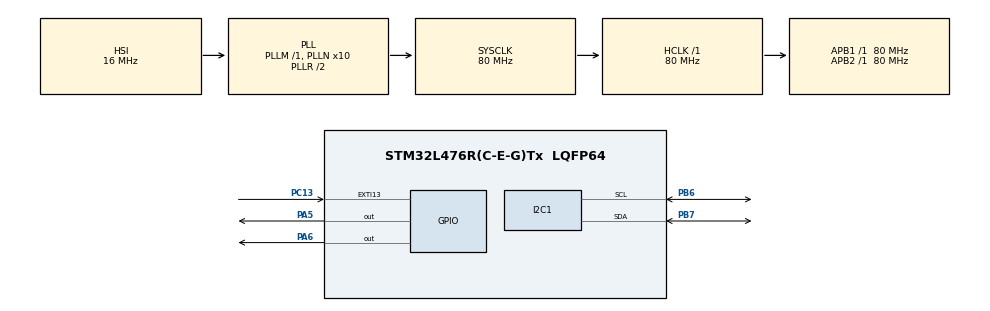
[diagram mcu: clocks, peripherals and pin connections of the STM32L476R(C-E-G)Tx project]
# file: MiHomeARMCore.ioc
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Mcu.Family=STM32L4
Mcu.Name=STM32L476R(C-E-G)Tx
Mcu.Package=LQFP64
NVIC.PriorityGroup=NVIC_PRIORITYGROUP_4
PA13\ (JTMS-SWDIO).GPIO_Label=TMS
PA13\ (JTMS-SWDIO).Signal=SYS_JTMS-SWDIO
PA14\ (JTCK-SWCLK).GPIO_Label=TCK
PA14\ (JTCK-SWCLK).Signal=SYS_JTCK-SWCLK
PA2.GPIO_Label=USART_TX
PA2.GPIO_Mode=GPIO_MODE_AF_PP
PA2.GPIO_PuPd=GPIO_NOPULL
PA2.GPIO_Speed=GPIO_SPEED_FREQ_VERY_HIGH
PA2.Signal=USART2_TX
PA3.GPIO_Label=USART_RX
PA3.GPIO_Mode=GPIO_MODE_AF_PP
PA3.GPIO_PuPd=GPIO_NOPULL
PA3.GPIO_Speed=GPIO_SPEED_FREQ_VERY_HIGH
PA3.Signal=USART2_RX
PA5.Signal=GPIO_Output
PA6.Signal=GPIO_Output
PB3\ (JTDO-TRACESWO).GPIO_Label=SWO
PB3\ (JTDO-TRACESWO).Signal=SYS_JTDO-SWO
PB6.Mode=I2C
PB6.Signal=I2C1_SCL
PB7.Mode=I2C
PB7.Signal=I2C1_SDA
PC13.GPIO_ModeDefaultEXTI=GPIO_MODE_IT_FALLING
PC13.GPIO_PuPd=GPIO_NOPULL
PC13.Signal=GPXTI13
PC14-OSC32_IN\ (PC14).Signal=RCC_OSC32_IN
PC15-OSC32_OUT\ (PC15).Signal=RCC_OSC32_OUT
PH0-OSC_IN\ (PH0).Signal=RCC_OSC_IN
PH1-OSC_OUT\ (PH1).Signal=RCC_OSC_OUT
ProjectManager.HeapSize=0x200
ProjectManager.StackSize=0x400
ProjectManager.TargetToolchain=MDK-ARM V5
RCC.ADCFreq_Value=96000000
RCC.AHBFreq_Value=80000000
RCC.APB1Freq_Value=80000000
RCC.APB1TimFreq_Value=80000000
RCC.APB2Freq_Value=80000000
RCC.APB2TimFreq_Value=80000000
RCC.CortexFreq_Value=80000000
RCC.HCLKFreq_Value=80000000
RCC.HSE_VALUE=8000000
RCC.HSI_VALUE=16000000
RCC.LSE_VALUE=32768
RCC.MSI_VALUE=4000000
RCC.PLLN=10
RCC.PLLSAI1N=12
RCC.PLLSAI1Q=RCC_PLLQ_DIV4
RCC.PLLSourceVirtual=RCC_PLLSOURCE_HSI
RCC.PREFETCH_ENABLE=1
RCC.SYSCLKFreq_VALUE=80000000
RCC.SYSCLKSource=RCC_SYSCLKSOURCE_PLLCLK
RCC.USBFreq_Value=48000000
RCC.VCOOutputFreq_Value=160000000
VP_RNG_VS_RNG.Mode=RNG_Activate
board=NUCLEO-L476RG

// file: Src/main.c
/**
  ******************************************************************************
  * @file           : main.c
  * @brief          : Main program body
  ******************************************************************************
  ** This notice applies to any and all portions of this file
  * that are not between comment pairs USER CODE BEGIN and
  * USER CODE END. Other portions of this file, whether
  * inserted by the user or by software development tools
  * are owned by their respective copyright owners.
  *
  * COPYRIGHT(c) 2018 STMicroelectronics
  *
  * Redistribution and use in source and binary forms, with or without modification,
  * are permitted provided that the following conditions are met:
  *   1. Redistributions of source code must retain the above copyright notice,
  *      this list of conditions and the following disclaimer.
  *   2. Redistributions in binary form must reproduce the above copyright notice,
  *      this list of conditions and the following disclaimer in the documentation
  *      and/or other materials provided with the distribution.
  *   3. Neither the name of STMicroelectronics nor the names of its contributors
  *      may be used to endorse or promote products derived from this software
  *      without specific prior written permission.
  *
  * THIS SOFTWARE IS PROVIDED BY THE COPYRIGHT HOLDERS AND CONTRIBUTORS "AS IS"
  * AND ANY EXPRESS OR IMPLIED WARRANTIES, INCLUDING, BUT NOT LIMITED TO, THE
  * IMPLIED WARRANTIES OF MERCHANTABILITY AND FITNESS FOR A PARTICULAR PURPOSE ARE
  * DISCLAIMED. IN NO EVENT SHALL THE COPYRIGHT HOLDER OR CONTRIBUTORS BE LIABLE
  * FOR ANY DIRECT, INDIRECT, INCIDENTAL, SPECIAL, EXEMPLARY, OR CONSEQUENTIAL
  * DAMAGES (INCLUDING, BUT NOT LIMITED TO, PROCUREMENT OF SUBSTITUTE GOODS OR
  * SERVICES; LOSS OF USE, DATA, OR PROFITS; OR BUSINESS INTERRUPTION) HOWEVER
  * CAUSED AND ON ANY THEORY OF LIABILITY, WHETHER IN CONTRACT, STRICT LIABILITY,
  * OR TORT (INCLUDING NEGLIGENCE OR OTHERWISE) ARISING IN ANY WAY OUT OF THE USE
  * OF THIS SOFTWARE, EVEN IF ADVISED OF THE POSSIBILITY OF SUCH DAMAGE.
  *
  ******************************************************************************
  */
#include "main.h"
#include "stm32l4xx_hal.h"

I2C_HandleTypeDef hi2c1;

RNG_HandleTypeDef hrng;

/* USER CODE BEGIN PV */
/* Private variables ---------------------------------------------------------*/

/* USER CODE END PV */

void SystemClock_Config(void);
static void MX_GPIO_Init(void);
static void MX_RNG_Init(void);
static void MX_I2C1_Init(void);

/* USER CODE BEGIN PFP */
/* Private function prototypes -----------------------------------------------*/

/* USER CODE END PFP */

/* USER CODE BEGIN 0 */
uint32_t random(int min,int max){
    while((RNG->SR & RNG_SR_DRDY) == 0);
    return RNG->DR % max + min;
}
/* USER CODE END 0 */

int main(void)
{

  /* MCU Configuration----------------------------------------------------------*/

  /* Reset of all peripherals, Initializes the Flash interface and the Systick. */
  HAL_Init();

  /* Configure the system clock */
  SystemClock_Config();

  /* Initialize all configured peripherals */
  MX_GPIO_Init();
  MX_RNG_Init();
  MX_I2C1_Init();
  /* USER CODE BEGIN 2 */
	printf("Starting Scan...");
 	printf("\r\n");
 	printf("Scanning I2C bus:\r\n[");

	HAL_StatusTypeDef result;
 	uint8_t i;
 	for (i =1; i<128; i++)
 	{
 	  result = HAL_I2C_IsDeviceReady(&hi2c1, (uint16_t)(i<<1), 2, 2);
 	  if (result != HAL_OK) // HAL_ERROR or HAL_BUSY or HAL_TIMEOUT
 	  {
 		  printf("."); // No ACK received at that address
 	  }
 	  if (result == HAL_OK)
 	  {
 		  printf("0x%X", i); // Received an ACK at that address
 	  }
 	}
  printf("]\r\n");
  /* USER CODE END 2 */

  /* Infinite loop */
  while (1)
  {
		int stateOfPushButton = HAL_GPIO_ReadPin(GPIOC, GPIO_PIN_13);
    if ( stateOfPushButton == 1 ) {
			HAL_GPIO_WritePin(GPIOA, GPIO_PIN_6, GPIO_PIN_RESET);
      HAL_GPIO_WritePin(GPIOA, GPIO_PIN_5, GPIO_PIN_RESET);
    } else {
			HAL_GPIO_WritePin(GPIOA, GPIO_PIN_6, GPIO_PIN_SET);
      HAL_GPIO_WritePin(GPIOA, GPIO_PIN_5, GPIO_PIN_SET);
    }

		printf("Random: %d\n\r",random(0,100));
		HAL_Delay(200);
  }

}

void SystemClock_Config(void)
{

  RCC_OscInitTypeDef RCC_OscInitStruct;
  RCC_ClkInitTypeDef RCC_ClkInitStruct;
  RCC_PeriphCLKInitTypeDef PeriphClkInit;

    /**Initializes the CPU, AHB and APB busses clocks
    */
  RCC_OscInitStruct.OscillatorType = RCC_OSCILLATORTYPE_HSI;
  RCC_OscInitStruct.HSIState = RCC_HSI_ON;
  RCC_OscInitStruct.HSICalibrationValue = 16;
  RCC_OscInitStruct.PLL.PLLState = RCC_PLL_ON;
  RCC_OscInitStruct.PLL.PLLSource = RCC_PLLSOURCE_HSI;
  RCC_OscInitStruct.PLL.PLLM = 1;
  RCC_OscInitStruct.PLL.PLLN = 10;
  RCC_OscInitStruct.PLL.PLLP = RCC_PLLP_DIV7;
  RCC_OscInitStruct.PLL.PLLQ = RCC_PLLQ_DIV2;
  RCC_OscInitStruct.PLL.PLLR = RCC_PLLR_DIV2;
  if (HAL_RCC_OscConfig(&RCC_OscInitStruct) != HAL_OK)
  {
    _Error_Handler(__FILE__, __LINE__);
  }

    /**Initializes the CPU, AHB and APB busses clocks
    */
  RCC_ClkInitStruct.ClockType = RCC_CLOCKTYPE_HCLK|RCC_CLOCKTYPE_SYSCLK
                              |RCC_CLOCKTYPE_PCLK1|RCC_CLOCKTYPE_PCLK2;
  RCC_ClkInitStruct.SYSCLKSource = RCC_SYSCLKSOURCE_PLLCLK;
  RCC_ClkInitStruct.AHBCLKDivider = RCC_SYSCLK_DIV1;
  RCC_ClkInitStruct.APB1CLKDivider = RCC_HCLK_DIV1;
  RCC_ClkInitStruct.APB2CLKDivider = RCC_HCLK_DIV1;

  if (HAL_RCC_ClockConfig(&RCC_ClkInitStruct, FLASH_LATENCY_4) != HAL_OK)
  {
    _Error_Handler(__FILE__, __LINE__);
  }

  PeriphClkInit.PeriphClockSelection = RCC_PERIPHCLK_I2C1|RCC_PERIPHCLK_RNG;
  PeriphClkInit.I2c1ClockSelection = RCC_I2C1CLKSOURCE_PCLK1;
  PeriphClkInit.RngClockSelection = RCC_RNGCLKSOURCE_PLLSAI1;
  PeriphClkInit.PLLSAI1.PLLSAI1Source = RCC_PLLSOURCE_HSI;
  PeriphClkInit.PLLSAI1.PLLSAI1M = 1;
  PeriphClkInit.PLLSAI1.PLLSAI1N = 12;
  PeriphClkInit.PLLSAI1.PLLSAI1P = RCC_PLLP_DIV7;
  PeriphClkInit.PLLSAI1.PLLSAI1Q = RCC_PLLQ_DIV4;
  PeriphClkInit.PLLSAI1.PLLSAI1R = RCC_PLLR_DIV2;
  PeriphClkInit.PLLSAI1.PLLSAI1ClockOut = RCC_PLLSAI1_48M2CLK;
  if (HAL_RCCEx_PeriphCLKConfig(&PeriphClkInit) != HAL_OK)
  {
    _Error_Handler(__FILE__, __LINE__);
  }

    /**Configure the main internal regulator output voltage
    */
  if (HAL_PWREx_ControlVoltageScaling(PWR_REGULATOR_VOLTAGE_SCALE1) != HAL_OK)
  {
    _Error_Handler(__FILE__, __LINE__);
  }

    /**Configure the Systick interrupt time
    */
  HAL_SYSTICK_Config(HAL_RCC_GetHCLKFreq()/1000);

    /**Configure the Systick
    */
  HAL_SYSTICK_CLKSourceConfig(SYSTICK_CLKSOURCE_HCLK);

  /* SysTick_IRQn interrupt configuration */
  HAL_NVIC_SetPriority(SysTick_IRQn, 0, 0);
}

/* I2C1 init function */
static void MX_I2C1_Init(void)
{

  hi2c1.Instance = I2C1;
  hi2c1.Init.Timing = 0x10909CEC;
  hi2c1.Init.OwnAddress1 = 0;
  hi2c1.Init.AddressingMode = I2C_ADDRESSINGMODE_7BIT;
  hi2c1.Init.DualAddressMode = I2C_DUALADDRESS_DISABLE;
  hi2c1.Init.OwnAddress2 = 0;
  hi2c1.Init.OwnAddress2Masks = I2C_OA2_NOMASK;
  hi2c1.Init.GeneralCallMode = I2C_GENERALCALL_DISABLE;
  hi2c1.Init.NoStretchMode = I2C_NOSTRETCH_DISABLE;
  if (HAL_I2C_Init(&hi2c1) != HAL_OK)
  {
    _Error_Handler(__FILE__, __LINE__);
  }

    /**Configure Analogue filter
    */
  if (HAL_I2CEx_ConfigAnalogFilter(&hi2c1, I2C_ANALOGFILTER_ENABLE) != HAL_OK)
  {
    _Error_Handler(__FILE__, __LINE__);
  }

    /**Configure Digital filter
    */
  if (HAL_I2CEx_ConfigDigitalFilter(&hi2c1, 0) != HAL_OK)
  {
    _Error_Handler(__FILE__, __LINE__);
  }

}

/* RNG init function */
static void MX_RNG_Init(void)
{

  hrng.Instance = RNG;
  if (HAL_RNG_Init(&hrng) != HAL_OK)
  {
    _Error_Handler(__FILE__, __LINE__);
  }

}

/** Configure pins as
        * Analog
        * Input
        * Output
        * EVENT_OUT
        * EXTI
     PA2   ------> USART2_TX
     PA3   ------> USART2_RX
*/
static void MX_GPIO_Init(void)
{

  GPIO_InitTypeDef GPIO_InitStruct;

  /* GPIO Ports Clock Enable */
  __HAL_RCC_GPIOC_CLK_ENABLE();
  __HAL_RCC_GPIOH_CLK_ENABLE();
  __HAL_RCC_GPIOA_CLK_ENABLE();
  __HAL_RCC_GPIOB_CLK_ENABLE();

  /*Configure GPIO pin Output Level */
  HAL_GPIO_WritePin(GPIOA, GPIO_PIN_5|GPIO_PIN_6, GPIO_PIN_RESET);

  /*Configure GPIO pin : PC13 */
  GPIO_InitStruct.Pin = GPIO_PIN_13;
  GPIO_InitStruct.Mode = GPIO_MODE_IT_FALLING;
  GPIO_InitStruct.Pull = GPIO_NOPULL;
  HAL_GPIO_Init(GPIOC, &GPIO_InitStruct);

  /*Configure GPIO pins : USART_TX_Pin USART_RX_Pin */
  GPIO_InitStruct.Pin = USART_TX_Pin|USART_RX_Pin;
  GPIO_InitStruct.Mode = GPIO_MODE_AF_PP;
  GPIO_InitStruct.Pull = GPIO_NOPULL;
  GPIO_InitStruct.Speed = GPIO_SPEED_FREQ_VERY_HIGH;
  GPIO_InitStruct.Alternate = GPIO_AF7_USART2;
  HAL_GPIO_Init(GPIOA, &GPIO_InitStruct);

  /*Configure GPIO pins : PA5 PA6 */
  GPIO_InitStruct.Pin = GPIO_PIN_5|GPIO_PIN_6;
  GPIO_InitStruct.Mode = GPIO_MODE_OUTPUT_PP;
  GPIO_InitStruct.Pull = GPIO_NOPULL;
  GPIO_InitStruct.Speed = GPIO_SPEED_FREQ_LOW;
  HAL_GPIO_Init(GPIOA, &GPIO_InitStruct);

}

void _Error_Handler(char *file, int line)
{
  while(1)
  {
  }
}

/************************ (C) COPYRIGHT STMicroelectronics *****END OF FILE****/
